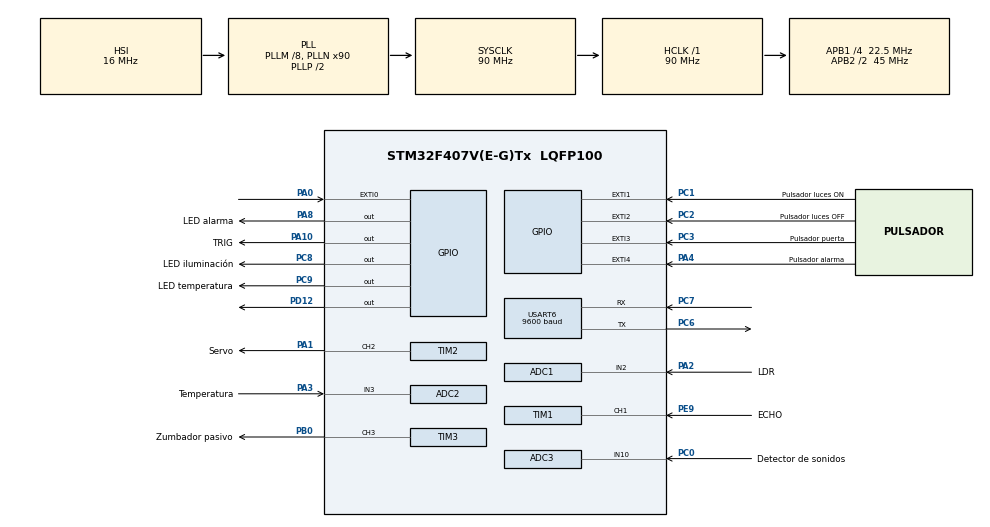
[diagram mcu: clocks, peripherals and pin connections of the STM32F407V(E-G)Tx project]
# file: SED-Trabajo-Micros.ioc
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ADC1.Channel-0\#ChannelRegularConversion=ADC_CHANNEL_2
ADC1.NbrOfConversionFlag=1
ADC1.Rank-0\#ChannelRegularConversion=1
ADC1.Resolution=ADC_RESOLUTION_8B
ADC1.SamplingTime-0\#ChannelRegularConversion=ADC_SAMPLETIME_3CYCLES
ADC1.master=1
ADC2.Channel-0\#ChannelRegularConversion=ADC_CHANNEL_3
ADC2.NbrOfConversionFlag=1
ADC2.Rank-0\#ChannelRegularConversion=1
ADC2.Resolution=ADC_RESOLUTION_10B
ADC2.SamplingTime-0\#ChannelRegularConversion=ADC_SAMPLETIME_3CYCLES
ADC3.Channel-0\#ChannelRegularConversion=ADC_CHANNEL_10
ADC3.NbrOfConversionFlag=1
ADC3.Rank-0\#ChannelRegularConversion=1
ADC3.Resolution=ADC_RESOLUTION_10B
ADC3.SamplingTime-0\#ChannelRegularConversion=ADC_SAMPLETIME_3CYCLES
Mcu.Family=STM32F4
Mcu.Name=STM32F407V(E-G)Tx
Mcu.Package=LQFP100
NVIC.EXTI0_IRQn=true\:0\:0\:false\:false\:true\:true\:true
NVIC.EXTI1_IRQn=true\:0\:0\:false\:false\:true\:true\:true
NVIC.EXTI2_IRQn=true\:0\:0\:false\:false\:true\:true\:true
NVIC.EXTI3_IRQn=true\:0\:0\:false\:false\:true\:true\:true
NVIC.EXTI4_IRQn=true\:0\:0\:false\:false\:true\:true\:true
NVIC.PriorityGroup=NVIC_PRIORITYGROUP_0
NVIC.TIM1_CC_IRQn=true\:0\:0\:false\:false\:true\:true\:true
NVIC.TIM2_IRQn=true\:0\:0\:false\:false\:true\:true\:true
NVIC.USART6_IRQn=true\:0\:0\:false\:false\:true\:true\:true
PA0-WKUP.Signal=GPXTI0
PA1.GPIO_Label=Servo
PA1.Signal=S_TIM2_CH2
PA10.GPIO_Label=TRIG
PA10.Signal=GPIO_Output
PA2.GPIO_Label=LDR
PA2.Signal=ADCx_IN2
PA3.GPIO_Label=Temperatura
PA3.Signal=ADCx_IN3
PA4.GPIO_Label=Pulsador alarma
PA4.Signal=GPXTI4
PA8.GPIO_Label=LED alarma
PA8.Signal=GPIO_Output
PB0.GPIO_Label=Zumbador pasivo
PB0.Signal=S_TIM3_CH3
PC0.GPIO_Label=Detector de sonidos
PC0.Signal=ADCx_IN10
PC1.GPIO_Label=Pulsador luces ON
PC1.Signal=GPXTI1
PC14-OSC32_IN.Mode=LSE-External-Oscillator
PC14-OSC32_IN.Signal=RCC_OSC32_IN
PC15-OSC32_OUT.Mode=LSE-External-Oscillator
PC15-OSC32_OUT.Signal=RCC_OSC32_OUT
PC2.GPIO_Label=Pulsador luces OFF
PC2.Signal=GPXTI2
PC3.GPIO_Label=Pulsador puerta
PC3.Signal=GPXTI3
PC6.Mode=Asynchronous
PC6.Signal=USART6_TX
PC7.Mode=Asynchronous
PC7.Signal=USART6_RX
PC8.GPIO_Label=LED iluminaci\u00F3n
PC8.Signal=GPIO_Output
PC9.GPIO_Label=LED temperatura
PC9.Signal=GPIO_Output
PD12.Signal=GPIO_Output
PE9.GPIO_Label=ECHO
PE9.Signal=S_TIM1_CH1
PH0-OSC_IN.Mode=HSE-External-Oscillator
PH0-OSC_IN.Signal=RCC_OSC_IN
PH1-OSC_OUT.Mode=HSE-External-Oscillator
PH1-OSC_OUT.Signal=RCC_OSC_OUT
ProjectManager.HeapSize=0x200
ProjectManager.StackSize=0x400
ProjectManager.TargetToolchain=STM32CubeIDE
RCC.48MHZClocksFreq_Value=25714285.714285713
RCC.AHBFreq_Value=90000000
RCC.APB1CLKDivider=RCC_HCLK_DIV4
RCC.APB1Freq_Value=22500000
RCC.APB1TimFreq_Value=45000000
RCC.APB2CLKDivider=RCC_HCLK_DIV2
RCC.APB2Freq_Value=45000000
RCC.APB2TimFreq_Value=90000000
RCC.CortexFreq_Value=90000000
RCC.HCLKFreq_Value=90000000
RCC.HSE_VALUE=8000000
RCC.HSI_VALUE=16000000
RCC.PLLM=8
RCC.PLLN=90
RCC.PLLQ=7
RCC.SYSCLKFreq_VALUE=90000000
RCC.SYSCLKSource=RCC_SYSCLKSOURCE_PLLCLK
RCC.VCOOutputFreq_Value=180000000
SH.ADCx_IN10.0=ADC3_IN10,IN10
SH.ADCx_IN2.0=ADC1_IN2,IN2
SH.ADCx_IN3.0=ADC2_IN3,IN3
SH.S_TIM1_CH1.0=TIM1_CH1,Input_Capture1_from_TI1
SH.S_TIM2_CH2.0=TIM2_CH2,PWM Generation2 CH2
SH.S_TIM3_CH3.0=TIM3_CH3,PWM Generation3 CH3
TIM1.Channel-Input_Capture1_from_TI1=TIM_CHANNEL_1
TIM1.Period=65535-1
TIM1.Prescaler=45-1
TIM2.Channel-PWM\ Generation2\ CH2=TIM_CHANNEL_2
TIM2.Period=1000-1
TIM2.Prescaler=900-1
TIM3.Channel-PWM\ Generation3\ CH3=TIM_CHANNEL_3
TIM3.Period=255-1
TIM3.Prescaler=692-1
USART6.BaudRate=9600
USART6.VirtualMode=VM_ASYNC
VP_TIM2_VS_ClockSourceINT.Mode=Internal
VP_TIM3_VS_ClockSourceINT.Mode=Internal
board=STM32F407G-DISC1

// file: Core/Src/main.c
/* USER CODE BEGIN Header */
/**
  ******************************************************************************
  * @file           : main.c
  * @brief          : Main program body
  ******************************************************************************
  * @attention
  *
  * Copyright (c) 2021 STMicroelectronics.
  * All rights reserved.
  *
  * This software is licensed under terms that can be found in the LICENSE file
  * in the root directory of this software component.
  * If no LICENSE file comes with this software, it is provided AS-IS.
  *
  ******************************************************************************
  */
/* USER CODE END Header */
#include "main.h"

/* USER CODE BEGIN Includes */

#include <math.h>

/* USER CODE END Includes */

ADC_HandleTypeDef hadc1;
ADC_HandleTypeDef hadc2;
ADC_HandleTypeDef hadc3;

TIM_HandleTypeDef htim1;
TIM_HandleTypeDef htim2;
TIM_HandleTypeDef htim3;

UART_HandleTypeDef huart6;

/* USER CODE BEGIN PV */

// Pulsadores
volatile int pulsador_luces_ON = 0;
volatile int pulsador_luces_OFF = 0;
volatile int pulsador_puerta = 0;
volatile int pulsador_temp = 0;
volatile int pulsador_alarma = 0;

// Bluetooth
char readBuf[1];

// Iluminación
int encendidas = 0;
int luces_ON = 0;
int luces_OFF = 0;
uint32_t LDR_valor;
uint32_t iluminacion;

// Puerta
int abierta = 0;
int abriendo = 0;
int cerrando = 0;
uint32_t puerta_temp;

// Temperatura
uint32_t Temp_valor;
float temp = 0;
float temperatura_medida;
int medida_temp = 0;
int midiendo_temp = 0;
int no_midiendo_temp = 0;
uint32_t temperatura_temp;

// Alarma
float dist  = 0;
int alarma_ON = 0;
uint8_t frec_zumb = 200;
uint32_t alarma_temp;

// Detector de sonidos
uint32_t Sonidos_valor;

// Zumbador pasivo
uint8_t valor = 0;

/* USER CODE END PV */

void SystemClock_Config(void);
static void MX_GPIO_Init(void);
static void MX_USART6_UART_Init(void);
static void MX_TIM2_Init(void);
static void MX_ADC1_Init(void);
static void MX_ADC2_Init(void);
static void MX_TIM1_Init(void);
static void MX_ADC3_Init(void);
static void MX_TIM3_Init(void);

/* USER CODE BEGIN 0 */

// Bluetooth
void HAL_UART_RxCpltCallback(UART_HandleTypeDef *huart)
{
	if(huart->Instance == huart6.Instance)
		HAL_UART_Receive_IT(&huart6, (uint8_t*)readBuf, 1);
}

// Pulsadores
void HAL_GPIO_EXTI_Callback(uint16_t GPIO_Pin)
{
	if(GPIO_Pin == GPIO_PIN_0) { // Temperatura
		pulsador_temp = 1;
	}

	if(GPIO_Pin == GPIO_PIN_1) { // Iluminación
		pulsador_luces_ON = 1;
	}

	if(GPIO_Pin == GPIO_PIN_2) { // Iluminación
		pulsador_luces_OFF = 1;
	}

	if(GPIO_Pin == GPIO_PIN_3) { // Puerta
		pulsador_puerta = 1;
	}

	if(GPIO_Pin == GPIO_PIN_4) { // Alarma
		pulsador_alarma = 1;
	}
}

// Debouncer
int debouncer(volatile int* button_int, GPIO_TypeDef* GPIO_port, uint16_t GPIO_number)
{
	static uint8_t button_count = 0;
	static int counter = 0;

	if(*button_int == 1) {
		if(button_count == 0) {
			counter = HAL_GetTick();
			button_count++;
		}
		if(HAL_GetTick() - counter >= 20) {
			counter = HAL_GetTick();
			if(HAL_GPIO_ReadPin(GPIO_port, GPIO_number) != 1) {
				button_count = 1;
			}
			else {
				button_count++;
			}
			if(button_count == 4) {
				button_count = 0;
				*button_int = 0;
				return 1;
			}
		}
	}
	return 0;
}

// Servomotor SG90
void moverServo(TIM_HandleTypeDef* htim, int grados)
{
	const int MAX = 20; // Max valor de frecuencia son 20ms -> 1/50Hz
	float ms = grados/90.0f + 0.5f; // De los valores min y max del servo (0.5ms son 0º, 2.5ms son 180º) -> Ecuacion recta
	float duty = ms/(float)MAX; // Porcentaje del ciclo encendido
	uint32_t CCR = htim->Instance->ARR * duty; // El valor del CCR es ARR * duty, el ARR es del propio htim
	htim->Instance->CCR2 = CCR; // Se asigna el CCR calculado al CCR2 del htim
}

// Ultrasonidos HC-SR04
float calcularDistancia(uint64_t time)
{
	const float Vsonido = 340.0f; // Velocidad sonido = 340m/s
	float dist = (float)time * Vsonido / 2.0f / 10000.0f; // El 1/10000 es por el cambio de conversion de s a us y de m a cm
	return dist; // En cm
}

void leerUltrasonido(GPIO_TypeDef* GPIOx, uint16_t GPIO_Pin)
{
	HAL_GPIO_WritePin(GPIOx, GPIO_Pin, 1); // Activar TRIG
	HAL_Delay(0.01); // Esperar 10 us = 0.01 ms
	HAL_GPIO_WritePin(GPIOx, GPIO_Pin, 0); // Desactivar TRIG
}

void HAL_TIM_IC_CaptureCallback(TIM_HandleTypeDef *htim)
{
	static uint64_t timeRise = 0, timeFall = 0, timeDif = 0;
	static uint8_t EdgeCapture = 0;	// 0 si va a detectar flanco de subida, 1 si va a detectar falcno de bajada

	if (!EdgeCapture) // Si se va a detectar el flanco de subida
	{
		EdgeCapture = 1; // Se cambia para detectar despues el flanco de bajada

		timeRise = HAL_TIM_ReadCapturedValue(htim, TIM_CHANNEL_1); // Se guarda el instsnte de tiempo en el que se ha alcanzado el flanco de subida

		__HAL_TIM_SET_CAPTUREPOLARITY(htim, TIM_CHANNEL_1, TIM_INPUTCHANNELPOLARITY_FALLING); // Cambio del tipo de flanco para detectar flancos de bajada
	}
	else // Si se va a detectar el flanco de bajada
	{
		EdgeCapture = 0; // Se cambia para detectar otro flanco de subida

		timeFall = HAL_TIM_ReadCapturedValue(htim, TIM_CHANNEL_1); // Se guarda el instsnte de tiempo en el que se ha alcanzado el flanco de bajada

		__HAL_TIM_SET_COUNTER(htim, 0);	// Se pone a cero el contador de tiempo para la siguiente deteccion del flanco de subida
		__HAL_TIM_SET_CAPTUREPOLARITY(htim, TIM_CHANNEL_1, TIM_INPUTCHANNELPOLARITY_RISING); // Cambio del tipo de flanco para detectar flancos de subida

		timeDif = timeFall - timeRise; // El tiempo necesario para calcular la distancia es la resta del tiempo de flancos
		dist = calcularDistancia(timeDif); // Se calcula la distancia en cm
	}
}

// Sensor de temperatura
float medirTemperatura(void)
{
	HAL_ADC_Start(&hadc2);
	if (HAL_ADC_PollForConversion(&hadc2, 100) == HAL_OK)
	{
		Temp_valor = HAL_ADC_GetValue(&hadc2);
	}
	HAL_ADC_Stop(&hadc2);

	uint32_t R_NTC = 10000.0 / (1023.0 / Temp_valor - 1.0);
	temp = 1.0 / ((1.0 / (25 + 273.15)) + (1.0 / 3950.0) * (log(R_NTC / 10000.0))) - 273.15;

	return temp;
}

// Sensor LDR
uint32_t medirLDR(void)
{
	HAL_ADC_Start(&hadc1);
	if(HAL_ADC_PollForConversion(&hadc1, 100) == HAL_OK) {
		LDR_valor = HAL_ADC_GetValue(&hadc1);
	}
	HAL_ADC_Stop(&hadc1);

	return LDR_valor;
}

// Control de la iluminación
void luces(void)
{
	iluminacion = medirLDR();

	if(iluminacion <= 60 || readBuf[0] == 'A' || debouncer(&pulsador_luces_ON, GPIOC, GPIO_PIN_1)) // Si hay poca luminosidad, o si se usa Bluetooth o si se pulsa el botón
	{
		if(encendidas == 0) // Si no están encendidas
		 {
			luces_ON = 1; // Activación del flag para encender
		 }

		 else // Si están encendidas
		 {
			 luces_OFF = 1; // Activación del flag para apagar
		 }

		 readBuf[0] = 0; // Reinicio del Bluetooth
		 pulsador_luces_ON = 0; // Reinicio del pulsador
	}

	if(encendidas == 0 && luces_ON == 1) // Si están apagadas y activado el flag para encender, se encienden
	{
		encendidas = 1; // Encendidas
		luces_ON = 0; // Desactivación del flag para encender
	}

	if(encendidas == 1 && luces_OFF == 0) // Si están encendidas y desactivado el flag para apagar, se apagan
	{
		luces_OFF = 1; // Activación del flag para apagar
	}

	if(encendidas == 1 && luces_OFF == 1) // Si están encendidas y activado el flag para apagar, se apagan
	{
		encendidas = 0; // Apagadas
		luces_OFF = 0; // Desactivación del flag para apagar
	}

	HAL_GPIO_WritePin(GPIOC, GPIO_PIN_8, encendidas); // LED encendido cuando se encienden las luces
}

// Control de la puerta
void puerta(void)
{
	if(readBuf[0] == 'C' || debouncer(&pulsador_puerta, GPIOC, GPIO_PIN_3)) // Si se usa Bluetooth o si se pulsa el botón
	{
		 if(abierta == 0) // Si la puerta está cerrada
		 {
			 abriendo = 1; // Activación del flag para abrir puerta
		 }

		 else // Si la puerta está abierta
		 {
			 cerrando = 1; // Activación del flag para cerrar puerta
			 puerta_temp = 0; // Reinicio del tiempo de la puerta abierta
		 }

		 readBuf[0] = 0; // Reinicio del Bluetooth
		 pulsador_puerta = 0; // Reinicio del pulsador
	}

	if(abierta == 0 && abriendo == 1) // Si la puerta está cerrada y activado el flag para abrir la puerta, se abre
	{
		moverServo(&htim2, 90); // Se abre la puerta
		abierta = 1; // Puerta ya abierta
		abriendo = 0; // Desactivación del flag para abrir puerta
		puerta_temp = HAL_GetTick(); // Se coge el tiempo actual
	}

	if(abierta == 1 && cerrando == 0 && (HAL_GetTick() - puerta_temp) > 5000) // Si la puerta está abierta, desactivado el flag para cerrar la puerta y han pasado 5s, se cierra
	{
		cerrando = 1; // Activación del flag para cerrar puerta
		puerta_temp = 0; // Reinicio del tiempo de la puerta abierta
	}

	if(abierta == 1 && cerrando == 1) // Si la puerta está abierta y activado el flag para cerrar la puerta, se cierra
	{
		moverServo(&htim2, 0); // Se cierra la puerta
		abierta = 0; // Puerta ya cerrada
		cerrando = 0; // Desactivación del flag para cerrar puerta
		puerta_temp = 0; // Reinicio del tiempo de la puerta abierta
	}
}

// Control de la temperatura
void temperatura(void)
{
	if(readBuf[0] == 'D' || debouncer(&pulsador_temp, GPIOA, GPIO_PIN_0)) // Si se usa Bluetooth o si se pulsa el botón
	{
		 if(medida_temp == 0) // Si no se está midiendo
		 {
			 midiendo_temp = 1; // Activación del flag para medir
		 }

		 else // Si se está midiendo
		 {
			 no_midiendo_temp = 1; // Activación del flag para no medir
			 temperatura_temp = 0; // Reinicio del tiempo de la medición
		 }

		 readBuf[0] = 0; // Reinicio del Bluetooth
		 pulsador_temp = 0; // Reinicio del pulsador
	}

	if(medida_temp == 0 && midiendo_temp == 1) // Si no se está midiendo y activado el flag para medir, se mide
	{
		temperatura_medida = medirTemperatura(); // Se mide la temperatura

		medida_temp = 1; // Midiendo
		midiendo_temp = 0; // Desactivación del flag para medir
		temperatura_temp = HAL_GetTick(); // Se coge el tiempo actual
	}

	if(medida_temp == 1 && no_midiendo_temp == 0 && (HAL_GetTick() - temperatura_temp) > 10000) // Si está midiendo, desactivado el flag para no medir y han pasado 10s, no mide
	{
		no_midiendo_temp = 1; // Activación del flag para no medir
		temperatura_temp = 0; // Reinicio del tiempo de la medición
	}

	if(medida_temp == 1 && no_midiendo_temp == 1) // Si está midiendo y activado el flag para no medir, no mide
	{
		medida_temp = 0; // No midiendo
		no_midiendo_temp = 0; // Desactivación del flag para no medir
		temperatura_temp = 0; // Reinicio del tiempo de la medición
	}

	HAL_GPIO_WritePin(GPIOC, GPIO_PIN_9, medida_temp); // LED encendido cuando se mide temperatura
}

// Control de la alarma
void alarma(void)
{
	leerUltrasonido(GPIOA, GPIO_PIN_10); // Leer Ultrasonido conectado a pin A10
	HAL_Delay(100); // Espera para volver a disparar, NO menor a 100ms !!!

	if(dist < 10) // Si la distancia al sensor es menor de 10cm
	{
		alarma_ON = 1; // Activación de la alarma
		alarma_temp = HAL_GetTick(); // Se coge el tiempo actual
		htim2.Instance->CCR3 = frec_zumb; // Se enciende la alarma
	}

	if(alarma_ON == 1) // Si está activada la alarma
	{
		if(readBuf[0] == 'E' || debouncer(&pulsador_alarma, GPIOA, GPIO_PIN_4) || HAL_GetTick() - alarma_temp > 5000) // Si se usa Bluetooth, o si se pulsa el botón o han pasado 5s, se desactiva
		{
			alarma_ON = 0; // Desactivación de la alarma
			htim2.Instance->CCR3 = frec_zumb; // Se apaga la alarma
			alarma_temp = 0; // Reinicio del tiempo de la alarma
			readBuf[0] = 0; // Reinicio del Bluetooth
			pulsador_alarma = 0; // Reinicio del pulsador
		}
	}

	HAL_GPIO_WritePin(GPIOA, GPIO_PIN_8, alarma_ON); // LED encendido cuando suena la alarma
}

/* USER CODE END 0 */

int main(void)
{

  /* MCU Configuration--------------------------------------------------------*/

  /* Reset of all peripherals, Initializes the Flash interface and the Systick. */
  HAL_Init();

  /* Configure the system clock */
  SystemClock_Config();

  /* Initialize all configured peripherals */
  MX_GPIO_Init();
  MX_USART6_UART_Init();
  MX_TIM2_Init();
  MX_ADC1_Init();
  MX_ADC2_Init();
  MX_TIM1_Init();
  MX_ADC3_Init();
  MX_TIM3_Init();
  /* USER CODE BEGIN 2 */

  HAL_UART_Receive_IT(&huart6, (uint8_t*)readBuf, 1);
  HAL_TIM_IC_Start_IT(&htim1, TIM_CHANNEL_1);
  HAL_TIM_PWM_Start(&htim2, TIM_CHANNEL_2);
  HAL_TIM_PWM_Start(&htim3, TIM_CHANNEL_3);

  /* USER CODE END 2 */

  /* Infinite loop */
  while (1)
  {

    /* USER CODE BEGIN 3 */

	  puerta(); // Control puerta
	  luces(); // Control iluminación
	  temperatura(); // Control temperatura
	  alarma(); // Control alarma

	  /*
	  // Ejemplo del detector de sonidos
	  HAL_ADC_Start(&hadc3);
	  if (HAL_ADC_PollForConversion(&hadc3, 100) == HAL_OK)
	  {
		  Sonidos_valor = HAL_ADC_GetValue(&hadc3);
	  }
	  HAL_ADC_Stop(&hadc3);

	  // Ejemplo zumbador pasivo
	  while(valor < 255)
	  {
		  htim2.Instance->CCR3 = valor;
		  valor += 20;
		  HAL_Delay(1000);
	  }

	  valor = 0;
	  */

  }
  /* USER CODE END 3 */
}

void SystemClock_Config(void)
{
  RCC_OscInitTypeDef RCC_OscInitStruct = {0};
  RCC_ClkInitTypeDef RCC_ClkInitStruct = {0};

  /** Configure the main internal regulator output voltage
  */
  __HAL_RCC_PWR_CLK_ENABLE();
  __HAL_PWR_VOLTAGESCALING_CONFIG(PWR_REGULATOR_VOLTAGE_SCALE1);
  /** Initializes the RCC Oscillators according to the specified parameters
  * in the RCC_OscInitTypeDef structure.
  */
  RCC_OscInitStruct.OscillatorType = RCC_OSCILLATORTYPE_HSI;
  RCC_OscInitStruct.HSIState = RCC_HSI_ON;
  RCC_OscInitStruct.HSICalibrationValue = RCC_HSICALIBRATION_DEFAULT;
  RCC_OscInitStruct.PLL.PLLState = RCC_PLL_ON;
  RCC_OscInitStruct.PLL.PLLSource = RCC_PLLSOURCE_HSI;
  RCC_OscInitStruct.PLL.PLLM = 8;
  RCC_OscInitStruct.PLL.PLLN = 90;
  RCC_OscInitStruct.PLL.PLLP = RCC_PLLP_DIV2;
  RCC_OscInitStruct.PLL.PLLQ = 7;
  if (HAL_RCC_OscConfig(&RCC_OscInitStruct) != HAL_OK)
  {
    Error_Handler();
  }
  /** Initializes the CPU, AHB and APB buses clocks
  */
  RCC_ClkInitStruct.ClockType = RCC_CLOCKTYPE_HCLK|RCC_CLOCKTYPE_SYSCLK
                              |RCC_CLOCKTYPE_PCLK1|RCC_CLOCKTYPE_PCLK2;
  RCC_ClkInitStruct.SYSCLKSource = RCC_SYSCLKSOURCE_PLLCLK;
  RCC_ClkInitStruct.AHBCLKDivider = RCC_SYSCLK_DIV1;
  RCC_ClkInitStruct.APB1CLKDivider = RCC_HCLK_DIV4;
  RCC_ClkInitStruct.APB2CLKDivider = RCC_HCLK_DIV2;

  if (HAL_RCC_ClockConfig(&RCC_ClkInitStruct, FLASH_LATENCY_2) != HAL_OK)
  {
    Error_Handler();
  }
}

static void MX_ADC1_Init(void)
{

  ADC_ChannelConfTypeDef sConfig = {0};

  /** Configure the global features of the ADC (Clock, Resolution, Data Alignment and number of conversion)
  */
  hadc1.Instance = ADC1;
  hadc1.Init.ClockPrescaler = ADC_CLOCK_SYNC_PCLK_DIV2;
  hadc1.Init.Resolution = ADC_RESOLUTION_8B;
  hadc1.Init.ScanConvMode = DISABLE;
  hadc1.Init.ContinuousConvMode = DISABLE;
  hadc1.Init.DiscontinuousConvMode = DISABLE;
  hadc1.Init.ExternalTrigConvEdge = ADC_EXTERNALTRIGCONVEDGE_NONE;
  hadc1.Init.ExternalTrigConv = ADC_SOFTWARE_START;
  hadc1.Init.DataAlign = ADC_DATAALIGN_RIGHT;
  hadc1.Init.NbrOfConversion = 1;
  hadc1.Init.DMAContinuousRequests = DISABLE;
  hadc1.Init.EOCSelection = ADC_EOC_SINGLE_CONV;
  if (HAL_ADC_Init(&hadc1) != HAL_OK)
  {
    Error_Handler();
  }
  /** Configure for the selected ADC regular channel its corresponding rank in the sequencer and its sample time.
  */
  sConfig.Channel = ADC_CHANNEL_2;
  sConfig.Rank = 1;
  sConfig.SamplingTime = ADC_SAMPLETIME_3CYCLES;
  if (HAL_ADC_ConfigChannel(&hadc1, &sConfig) != HAL_OK)
  {
    Error_Handler();
  }

}

static void MX_ADC2_Init(void)
{

  ADC_ChannelConfTypeDef sConfig = {0};

  /** Configure the global features of the ADC (Clock, Resolution, Data Alignment and number of conversion)
  */
  hadc2.Instance = ADC2;
  hadc2.Init.ClockPrescaler = ADC_CLOCK_SYNC_PCLK_DIV2;
  hadc2.Init.Resolution = ADC_RESOLUTION_10B;
  hadc2.Init.ScanConvMode = DISABLE;
  hadc2.Init.ContinuousConvMode = DISABLE;
  hadc2.Init.DiscontinuousConvMode = DISABLE;
  hadc2.Init.ExternalTrigConvEdge = ADC_EXTERNALTRIGCONVEDGE_NONE;
  hadc2.Init.ExternalTrigConv = ADC_SOFTWARE_START;
  hadc2.Init.DataAlign = ADC_DATAALIGN_RIGHT;
  hadc2.Init.NbrOfConversion = 1;
  hadc2.Init.DMAContinuousRequests = DISABLE;
  hadc2.Init.EOCSelection = ADC_EOC_SINGLE_CONV;
  if (HAL_ADC_Init(&hadc2) != HAL_OK)
  {
    Error_Handler();
  }
  /** Configure for the selected ADC regular channel its corresponding rank in the sequencer and its sample time.
  */
  sConfig.Channel = ADC_CHANNEL_3;
  sConfig.Rank = 1;
  sConfig.SamplingTime = ADC_SAMPLETIME_3CYCLES;
  if (HAL_ADC_ConfigChannel(&hadc2, &sConfig) != HAL_OK)
  {
    Error_Handler();
  }

}

static void MX_ADC3_Init(void)
{

  ADC_ChannelConfTypeDef sConfig = {0};

  /** Configure the global features of the ADC (Clock, Resolution, Data Alignment and number of conversion)
  */
  hadc3.Instance = ADC3;
  hadc3.Init.ClockPrescaler = ADC_CLOCK_SYNC_PCLK_DIV2;
  hadc3.Init.Resolution = ADC_RESOLUTION_10B;
  hadc3.Init.ScanConvMode = DISABLE;
  hadc3.Init.ContinuousConvMode = DISABLE;
  hadc3.Init.DiscontinuousConvMode = DISABLE;
  hadc3.Init.ExternalTrigConvEdge = ADC_EXTERNALTRIGCONVEDGE_NONE;
  hadc3.Init.ExternalTrigConv = ADC_SOFTWARE_START;
  hadc3.Init.DataAlign = ADC_DATAALIGN_RIGHT;
  hadc3.Init.NbrOfConversion = 1;
  hadc3.Init.DMAContinuousRequests = DISABLE;
  hadc3.Init.EOCSelection = ADC_EOC_SINGLE_CONV;
  if (HAL_ADC_Init(&hadc3) != HAL_OK)
  {
    Error_Handler();
  }
  /** Configure for the selected ADC regular channel its corresponding rank in the sequencer and its sample time.
  */
  sConfig.Channel = ADC_CHANNEL_10;
  sConfig.Rank = 1;
  sConfig.SamplingTime = ADC_SAMPLETIME_3CYCLES;
  if (HAL_ADC_ConfigChannel(&hadc3, &sConfig) != HAL_OK)
  {
    Error_Handler();
  }

}

static void MX_TIM1_Init(void)
{

  TIM_MasterConfigTypeDef sMasterConfig = {0};
  TIM_IC_InitTypeDef sConfigIC = {0};

  htim1.Instance = TIM1;
  htim1.Init.Prescaler = 45-1;
  htim1.Init.CounterMode = TIM_COUNTERMODE_UP;
  htim1.Init.Period = 65535-1;
  htim1.Init.ClockDivision = TIM_CLOCKDIVISION_DIV1;
  htim1.Init.RepetitionCounter = 0;
  htim1.Init.AutoReloadPreload = TIM_AUTORELOAD_PRELOAD_DISABLE;
  if (HAL_TIM_IC_Init(&htim1) != HAL_OK)
  {
    Error_Handler();
  }
  sMasterConfig.MasterOutputTrigger = TIM_TRGO_RESET;
  sMasterConfig.MasterSlaveMode = TIM_MASTERSLAVEMODE_DISABLE;
  if (HAL_TIMEx_MasterConfigSynchronization(&htim1, &sMasterConfig) != HAL_OK)
  {
    Error_Handler();
  }
  sConfigIC.ICPolarity = TIM_INPUTCHANNELPOLARITY_RISING;
  sConfigIC.ICSelection = TIM_ICSELECTION_DIRECTTI;
  sConfigIC.ICPrescaler = TIM_ICPSC_DIV1;
  sConfigIC.ICFilter = 0;
  if (HAL_TIM_IC_ConfigChannel(&htim1, &sConfigIC, TIM_CHANNEL_1) != HAL_OK)
  {
    Error_Handler();
  }

}

static void MX_TIM2_Init(void)
{

  TIM_ClockConfigTypeDef sClockSourceConfig = {0};
  TIM_MasterConfigTypeDef sMasterConfig = {0};
  TIM_OC_InitTypeDef sConfigOC = {0};

  htim2.Instance = TIM2;
  htim2.Init.Prescaler = 900-1;
  htim2.Init.CounterMode = TIM_COUNTERMODE_UP;
  htim2.Init.Period = 1000-1;
  htim2.Init.ClockDivision = TIM_CLOCKDIVISION_DIV1;
  htim2.Init.AutoReloadPreload = TIM_AUTORELOAD_PRELOAD_DISABLE;
  if (HAL_TIM_Base_Init(&htim2) != HAL_OK)
  {
    Error_Handler();
  }
  sClockSourceConfig.ClockSource = TIM_CLOCKSOURCE_INTERNAL;
  if (HAL_TIM_ConfigClockSource(&htim2, &sClockSourceConfig) != HAL_OK)
  {
    Error_Handler();
  }
  if (HAL_TIM_PWM_Init(&htim2) != HAL_OK)
  {
    Error_Handler();
  }
  sMasterConfig.MasterOutputTrigger = TIM_TRGO_RESET;
  sMasterConfig.MasterSlaveMode = TIM_MASTERSLAVEMODE_DISABLE;
  if (HAL_TIMEx_MasterConfigSynchronization(&htim2, &sMasterConfig) != HAL_OK)
  {
    Error_Handler();
  }
  sConfigOC.OCMode = TIM_OCMODE_PWM1;
  sConfigOC.Pulse = 0;
  sConfigOC.OCPolarity = TIM_OCPOLARITY_HIGH;
  sConfigOC.OCFastMode = TIM_OCFAST_DISABLE;
  if (HAL_TIM_PWM_ConfigChannel(&htim2, &sConfigOC, TIM_CHANNEL_2) != HAL_OK)
  {
    Error_Handler();
  }
  HAL_TIM_MspPostInit(&htim2);

}

static void MX_TIM3_Init(void)
{

  TIM_ClockConfigTypeDef sClockSourceConfig = {0};
  TIM_MasterConfigTypeDef sMasterConfig = {0};
  TIM_OC_InitTypeDef sConfigOC = {0};

  htim3.Instance = TIM3;
  htim3.Init.Prescaler = 692-1;
  htim3.Init.CounterMode = TIM_COUNTERMODE_UP;
  htim3.Init.Period = 255-1;
  htim3.Init.ClockDivision = TIM_CLOCKDIVISION_DIV1;
  htim3.Init.AutoReloadPreload = TIM_AUTORELOAD_PRELOAD_DISABLE;
  if (HAL_TIM_Base_Init(&htim3) != HAL_OK)
  {
    Error_Handler();
  }
  sClockSourceConfig.ClockSource = TIM_CLOCKSOURCE_INTERNAL;
  if (HAL_TIM_ConfigClockSource(&htim3, &sClockSourceConfig) != HAL_OK)
  {
    Error_Handler();
  }
  if (HAL_TIM_PWM_Init(&htim3) != HAL_OK)
  {
    Error_Handler();
  }
  sMasterConfig.MasterOutputTrigger = TIM_TRGO_RESET;
  sMasterConfig.MasterSlaveMode = TIM_MASTERSLAVEMODE_DISABLE;
  if (HAL_TIMEx_MasterConfigSynchronization(&htim3, &sMasterConfig) != HAL_OK)
  {
    Error_Handler();
  }
  sConfigOC.OCMode = TIM_OCMODE_PWM1;
  sConfigOC.Pulse = 0;
  sConfigOC.OCPolarity = TIM_OCPOLARITY_HIGH;
  sConfigOC.OCFastMode = TIM_OCFAST_DISABLE;
  if (HAL_TIM_PWM_ConfigChannel(&htim3, &sConfigOC, TIM_CHANNEL_3) != HAL_OK)
  {
    Error_Handler();
  }
  HAL_TIM_MspPostInit(&htim3);

}

static void MX_USART6_UART_Init(void)
{

  huart6.Instance = USART6;
  huart6.Init.BaudRate = 9600;
  huart6.Init.WordLength = UART_WORDLENGTH_8B;
  huart6.Init.StopBits = UART_STOPBITS_1;
  huart6.Init.Parity = UART_PARITY_NONE;
  huart6.Init.Mode = UART_MODE_TX_RX;
  huart6.Init.HwFlowCtl = UART_HWCONTROL_NONE;
  huart6.Init.OverSampling = UART_OVERSAMPLING_16;
  if (HAL_UART_Init(&huart6) != HAL_OK)
  {
    Error_Handler();
  }

}

static void MX_GPIO_Init(void)
{
  GPIO_InitTypeDef GPIO_InitStruct = {0};

  /* GPIO Ports Clock Enable */
  __HAL_RCC_GPIOC_CLK_ENABLE();
  __HAL_RCC_GPIOH_CLK_ENABLE();
  __HAL_RCC_GPIOA_CLK_ENABLE();
  __HAL_RCC_GPIOB_CLK_ENABLE();
  __HAL_RCC_GPIOE_CLK_ENABLE();
  __HAL_RCC_GPIOD_CLK_ENABLE();

  /*Configure GPIO pin Output Level */
  HAL_GPIO_WritePin(GPIOD, GPIO_PIN_12, GPIO_PIN_RESET);

  /*Configure GPIO pin Output Level */
  HAL_GPIO_WritePin(GPIOC, LED_iluminaci_n_Pin|LED_temperatura_Pin, GPIO_PIN_RESET);

  /*Configure GPIO pin Output Level */
  HAL_GPIO_WritePin(GPIOA, LED_alarma_Pin|TRIG_Pin, GPIO_PIN_RESET);

  /*Configure GPIO pins : Pulsador_luces_ON_Pin Pulsador_luces_OFF_Pin Pulsador_puerta_Pin */
  GPIO_InitStruct.Pin = Pulsador_luces_ON_Pin|Pulsador_luces_OFF_Pin|Pulsador_puerta_Pin;
  GPIO_InitStruct.Mode = GPIO_MODE_IT_RISING;
  GPIO_InitStruct.Pull = GPIO_NOPULL;
  HAL_GPIO_Init(GPIOC, &GPIO_InitStruct);

  /*Configure GPIO pins : PA0 Pulsador_alarma_Pin */
  GPIO_InitStruct.Pin = GPIO_PIN_0|Pulsador_alarma_Pin;
  GPIO_InitStruct.Mode = GPIO_MODE_IT_RISING;
  GPIO_InitStruct.Pull = GPIO_NOPULL;
  HAL_GPIO_Init(GPIOA, &GPIO_InitStruct);

  /*Configure GPIO pin : PD12 */
  GPIO_InitStruct.Pin = GPIO_PIN_12;
  GPIO_InitStruct.Mode = GPIO_MODE_OUTPUT_PP;
  GPIO_InitStruct.Pull = GPIO_NOPULL;
  GPIO_InitStruct.Speed = GPIO_SPEED_FREQ_LOW;
  HAL_GPIO_Init(GPIOD, &GPIO_InitStruct);

  /*Configure GPIO pins : LED_iluminaci_n_Pin LED_temperatura_Pin */
  GPIO_InitStruct.Pin = LED_iluminaci_n_Pin|LED_temperatura_Pin;
  GPIO_InitStruct.Mode = GPIO_MODE_OUTPUT_PP;
  GPIO_InitStruct.Pull = GPIO_NOPULL;
  GPIO_InitStruct.Speed = GPIO_SPEED_FREQ_LOW;
  HAL_GPIO_Init(GPIOC, &GPIO_InitStruct);

  /*Configure GPIO pins : LED_alarma_Pin TRIG_Pin */
  GPIO_InitStruct.Pin = LED_alarma_Pin|TRIG_Pin;
  GPIO_InitStruct.Mode = GPIO_MODE_OUTPUT_PP;
  GPIO_InitStruct.Pull = GPIO_NOPULL;
  GPIO_InitStruct.Speed = GPIO_SPEED_FREQ_LOW;
  HAL_GPIO_Init(GPIOA, &GPIO_InitStruct);

  /* EXTI interrupt init*/
  HAL_NVIC_SetPriority(EXTI0_IRQn, 0, 0);
  HAL_NVIC_EnableIRQ(EXTI0_IRQn);

  HAL_NVIC_SetPriority(EXTI1_IRQn, 0, 0);
  HAL_NVIC_EnableIRQ(EXTI1_IRQn);

  HAL_NVIC_SetPriority(EXTI2_IRQn, 0, 0);
  HAL_NVIC_EnableIRQ(EXTI2_IRQn);

  HAL_NVIC_SetPriority(EXTI3_IRQn, 0, 0);
  HAL_NVIC_EnableIRQ(EXTI3_IRQn);

  HAL_NVIC_SetPriority(EXTI4_IRQn, 0, 0);
  HAL_NVIC_EnableIRQ(EXTI4_IRQn);

}

void Error_Handler(void)
{
  __disable_irq();
  while (1)
  {
  }
}
